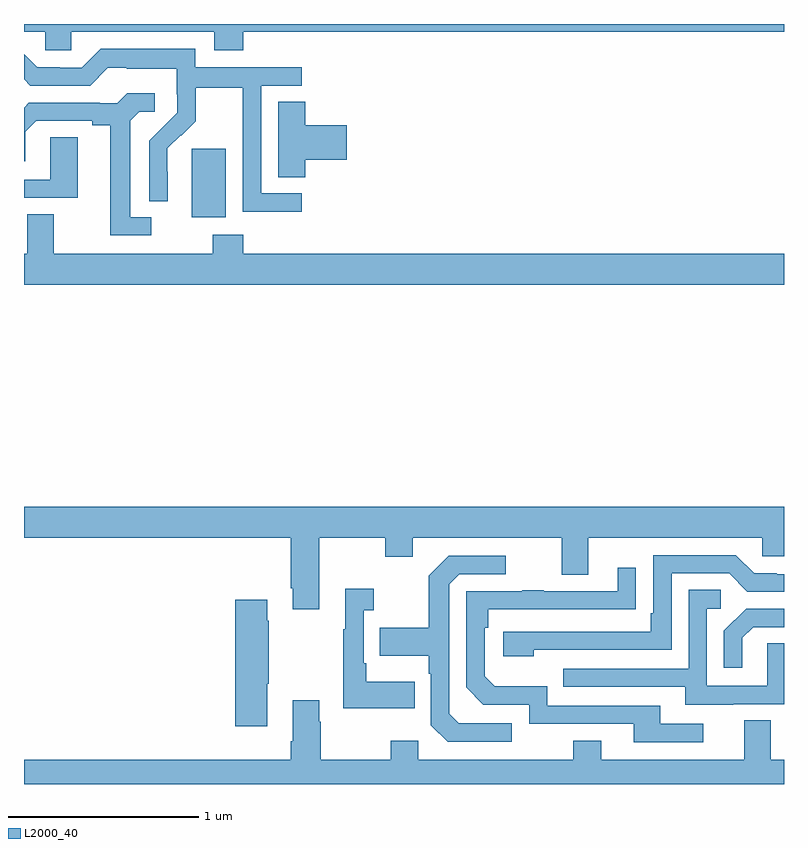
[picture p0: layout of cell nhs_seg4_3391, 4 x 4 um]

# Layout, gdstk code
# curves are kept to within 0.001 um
import gdstk
lib = gdstk.Library(unit=1e-6, precision=1e-09)
def R(c, l, rs):  # rectangles x0, y0, x1, y1
    for r in rs: c.add(gdstk.rectangle(r[:2], r[2:], *l))
def P(c, l, *ps):  # polygons
    for p in ps: c.add(gdstk.Polygon(p, *l))
L2000_40 = (2000, 40)

nhs_seg4_3391 = lib.new_cell('nhs_seg4_3391')
R(nhs_seg4_3391, L2000_40, [(291.884,755.882,292.063,756.243)])
P(nhs_seg4_3391, L2000_40, [(292.154,756.86),(295,756.86),(295,756.9),(291,756.9),(291,756.86),(291.111,756.86),(291.111,756.762),(291.249,756.762),(291.249,756.86),(292.001,756.86),(292.001,756.761),(292.154,756.761)],
  [(292.462,756.009),(292.248,756.009),(292.248,756.576),(292.462,756.576),(292.462,756.672),(291.9,756.672),(291.9,756.769),(291.403,756.769),(291.303,756.669),(291.188,756.669),(291.188,756.672),(291.069,756.672),(291,756.741),(291,756.609),(291.033,756.576),(291.348,756.576),(291.441,756.669),(291.541,756.669),(291.541,756.665),(291.804,756.665),(291.804,756.531),(291.806,756.531),(291.806,756.434),(291.66,756.286),(291.66,755.968),(291.756,755.968),(291.755,756.245),(291.825,756.315),(291.828,756.312),(291.905,756.389),(291.905,756.564),(292.15,756.564),(292.15,756.34),(292.152,756.34),(292.152,755.911),(292.462,755.911)],
  [(291.67,755.883),(291.559,755.883),(291.559,756.391),(291.606,756.438),(291.688,756.438),(291.688,756.535),(291.544,756.535),(291.492,756.483),(291.398,756.483),(291.398,756.486),(291.026,756.486),(291,756.46),(291,756.177),(291.007,756.177),(291.007,756.333),(291.064,756.39),(291.359,756.39),(291.359,756.368),(291.455,756.368),(291.455,755.787),(291.67,755.787)],
  [(292.481,756.185),(292.699,756.185),(292.699,756.368),(292.481,756.368),(292.481,756.491),(292.337,756.491),(292.337,756.094),(292.481,756.094)],
  [(291.283,756.305),(291.138,756.305),(291.138,756.081),(291,756.081),(291,755.985),(291.283,755.985)],
  [(295,755.692),(292.154,755.692),(292.154,755.791),(291.994,755.791),(291.994,755.692),(291.157,755.692),(291.157,755.9),(291.017,755.9),(291.017,755.692),(291,755.692),(291,755.528),(295,755.528)],
  [(292.555,754.196),(292.9,754.196),(292.9,754.097),(293.047,754.097),(293.047,754.196),(293.831,754.196),(293.831,754.002),(293.971,754.002),(293.971,754.196),(294.885,754.196),(294.885,754.098),(295,754.098),(295,754.36),(291,754.36),(291,754.196),(292.403,754.196),(292.403,753.931),(292.415,753.931),(292.415,753.819),(292.555,753.819)],
  [(293.684,753.606),(294.408,753.606),(294.408,754.008),(294.711,754.008),(294.807,753.912),(295,753.912),(295,754.005),(294.962,754.005),(294.962,754.008),(294.843,754.008),(294.747,754.104),(294.312,754.104),(294.312,753.799),(294.299,753.799),(294.299,753.702),(293.523,753.702),(293.523,753.572),(293.684,753.572)],
  [(293.566,753.219),(293.289,753.219),(293.238,753.27),(293.238,753.951),(293.292,754.005),(293.536,754.005),(293.536,754.101),(293.235,754.101),(293.13,753.995),(293.13,753.723),(292.873,753.723),(292.873,753.575),(293.13,753.575),(293.13,753.479),(293.142,753.479),(293.142,753.21),(293.229,753.123),(293.566,753.123)],
  [(294.574,753.216),(294.349,753.216),(294.349,753.312),(293.754,753.312),(293.754,753.415),(293.477,753.415),(293.424,753.468),(293.424,753.722),(293.444,753.722),(293.444,753.819),(294.221,753.82),(294.221,754.039),(294.125,754.039),(294.125,753.915),(293.735,753.915),(293.735,753.92),(293.623,753.92),(293.623,753.915),(293.328,753.915),(293.328,753.408),(293.418,753.318),(293.658,753.318),(293.658,753.216),(294.209,753.216),(294.209,753.12),(294.574,753.12)],
  [(293.057,753.439),(292.801,753.439),(292.801,753.535),(292.788,753.535),(292.788,753.815),(292.84,753.815),(292.84,753.928),(292.691,753.928),(292.691,753.715),(292.68,753.715),(292.68,753.299),(293.057,753.299)],
  [(294.733,753.321),(295,753.321),(295,753.641),(294.912,753.641),(294.912,753.417),(294.594,753.417),(294.594,753.822),(294.667,753.822),(294.667,753.923),(294.498,753.923),(294.498,753.507),(293.839,753.507),(293.839,753.411),(294.479,753.411),(294.479,753.317),(294.733,753.317)],
  [(292.279,753.427),(292.287,753.427),(292.287,753.758),(292.279,753.758),(292.279,753.871),(292.112,753.871),(292.112,753.204),(292.279,753.204)],
  [(294.781,753.669),(294.838,753.726),(295,753.726),(295,753.822),(294.8,753.822),(294.684,753.706),(294.684,753.513),(294.781,753.513)],
  [(295,753.028),(294.931,753.028),(294.931,753.236),(294.791,753.236),(294.791,753.028),(294.037,753.028),(294.037,753.127),(293.89,753.127),(293.89,753.028),(293.076,753.028),(293.076,753.127),(292.93,753.127),(292.93,753.028),(292.563,753.028),(292.563,753.227),(292.555,753.227),(292.555,753.34),(292.415,753.34),(292.415,753.124),(292.403,753.124),(292.403,753.028),(291,753.028),(291,752.9),(295,752.9)])

lib.write_gds('nhs_seg4_3391.gds')
